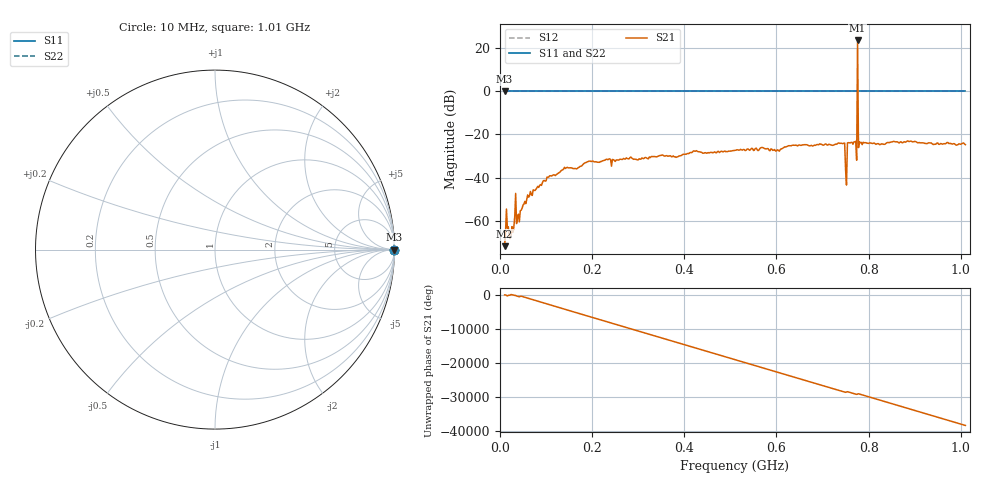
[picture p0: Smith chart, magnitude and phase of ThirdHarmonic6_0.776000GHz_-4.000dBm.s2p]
! 8/16/2025 1:54:19 AM
! C:\ANRITSUVNA\TEMP\TEMP.S2P
! CHANNEL.1
! TR.MEASUREMENT
! RAW.DATA
! RF.CORRECTION.OFF
! AVERAGING.OFF
! IF.BANDWIDTH: 5KHZ
! SWEEPTYPE:  FREQ.SWEEP(Linear)
! Reference Plane Port Info
! PORT:  PORT1  PORT2
! DISTANCE:  0  m  0  m
! TIME:  0  s  0  s
! PHASE.OFFSET:  0  deg.  0  deg.
! LOSS:  0  dB  0  dB
! REF.LOSS:  0  dB  0  dB
! REF.FREQ:  0  Hz  0  Hz
! Power Info
! POWER:  -20  dBm  -20  dBm
! EFF.POWER:  -20  dBm  -20  dBm
! SOURCE.ATTEN:  0  dB  0  dB
! TEST.ATTEN:  0  dB  0  dB
# GHZ S RI R 50.0
! FREQ.GHZ  S11RE  S11IM  S21RE  S21IM  S12RE  S12IM  S22RE  S22IM
!; PortSelection: Port_12
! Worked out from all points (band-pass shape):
!   501 points, 10 MHz to 1.01 GHz, reference 50 ohm
!   highest |S21| = 23.62 dB at 776 MHz (marker M1); lowest = -71.9 dB at 10 MHz (marker M2)
!   |S21| within 3 dB of the highest: 775.892 MHz to 776.1206 MHz (228.6 kHz wide, 0.0295 % of centre)
!   lowest |S11| = 0.0 dB at 10 MHz (marker M3)
!   |S11| at or under -10 dB: nowhere
!   |S22| runs from 0.0 to 0.0 dB; largest |S21 - S12| = 15
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0.01  1 0  -0.000247 6.33e-05  1 0  1 0
0.016  1 0  -0.000422 -0.000515  1 0  1 0
0.024  1 0  -1.4e-06 -0.000434  1 0  1 0
0.036  1 0  -0.000779 -0.000351  1 0  1 0
0.04  1 0  0.00133 0.000453  1 0  1 0
0.062  1 0  -0.00298 -0.00181  1 0  1 0
0.106  1 0  -0.00722 -0.00742  1 0  1 0
0.178  1 0  -0.0183 -0.00475  1 0  1 0
0.344  1 0  0.0311 -0.00627  1 0  1 0
0.51  1 0  -0.0407 0.0137  1 0  1 0
0.678  1 0  -0.0208 -0.0496  1 0  1 0
0.744  1 0  -0.0199 0.0576  1 0  1 0
0.748  1 0  0.0396 -0.0489  1 0  1 0
0.754  1 0  0.0278 0.0568  1 0  1 0
0.758  1 0  -0.00572 -0.0639  1 0  1 0
0.77  1 0  -0.0512 0.0436  1 0  1 0
0.772  1 0  0.0353 0.0595  1 0  1 0
0.776  1 0  3.759 14.7  1 0  1 0
0.78  1 0  -0.00223 0.0673  1 0  1 0
0.782  1 0  0.0625 0.0139  1 0  1 0
0.844  1 0  0.0476 0.0436  1 0  1 0
1.01  1 0  -0.0558 -0.015  1 0  1 0
